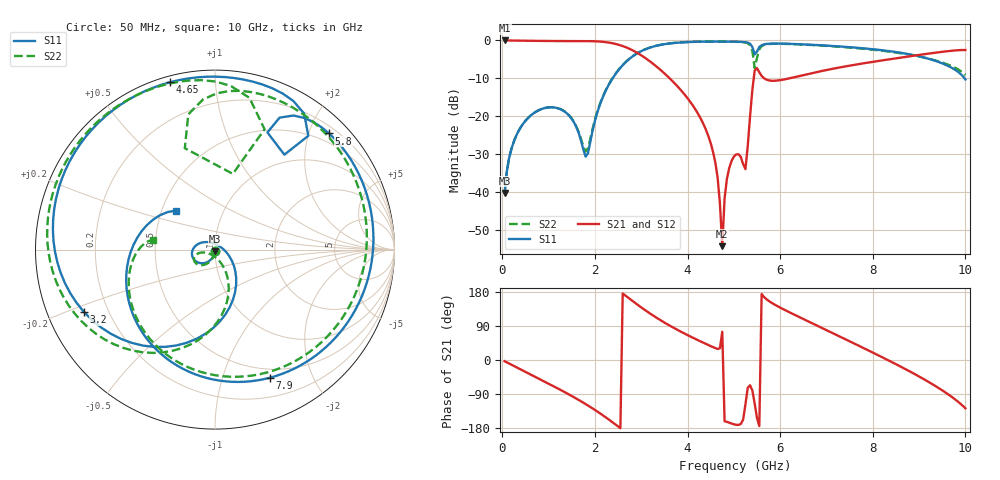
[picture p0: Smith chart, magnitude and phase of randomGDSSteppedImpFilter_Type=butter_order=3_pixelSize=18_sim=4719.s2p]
! freq	dB(S11)	phase(S11)	dB(S12)	phase(S12)
!  dB(S21)	phase(S21)	dB(S22)	phase(S22)
!S-par simulation data
#  GHz  S  DB  R 50
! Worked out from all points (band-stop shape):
!   200 points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, 50 MHz to 10 GHz, reference 50 ohm
!   highest |S21| = -0.01 dB at 50 MHz (marker M1); lowest = -54.2 dB at 4.75 GHz (marker M2)
!   |S21| within 3 dB of the highest: start of sweep to 2.876 GHz; 9.491 GHz to end of sweep
!   lowest |S11| = -40.2 dB at 50 MHz (marker M3), VSWR 1.02, Z = 49.9 - j0.977 ohm
!   |S11| at or under -10 dB: start of sweep to 2.381 GHz; 9.983091 GHz to end of sweep
!   |S22| runs from -40.2 to -0.3 dB; largest |S21 - S12| = 0
!   S11 on the Smith chart (normalised r, x): 50 MHz: 1.00, -0.02; 3.2 GHz: 0.11, -0.22; 4.65 GHz: 0.03, +0.77; 5.8 GHz: 0.32, +2.35; 7.9 GHz: 0.40, -1.44; 10 GHz: 0.59, +0.28
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0.05  -40.18 -93.1  -0.01 -3.2  -0.01 -3.2  -40.17 -92.5
0.25  -26.58 -107.3  -0.03 -15.6  -0.03 -15.6  -26.57 -104.4
0.75  -18.61 -141.7  -0.12 -46.7  -0.12 -46.7  -18.60 -132.6
1.4  -19.26 168.1  -0.16 -88.2  -0.16 -88.2  -19.22 -164.8
1.75  -28.72 104.0  -0.15 -112.6  -0.15 -112.6  -27.92 -146.2
2.45  -8.75 -80.8  -0.93 -170.6  -0.93 -170.6  -8.68 -84.3
3.2  -1.84 -154.6  -5.62 121.9  -5.62 121.9  -1.80 -144.8
3.4  -1.22 -171.4  -7.59 106.2  -7.59 106.2  -1.18 -159.3
4.3  -0.33 126.2  -20.94 48.0  -20.94 48.0  -0.31 146.7
4.65  -0.30 104.9  -36.13 29.0  -36.13 29.0  -0.29 127.9
4.75  -0.31 98.9  -54.16 74.4  -54.16 74.4  -0.30 122.4
4.85  -0.32 92.9  -36.47 -163.3  -36.47 -163.3  -0.31 116.9
5.05  -0.35 80.6  -30.01 -171.0  -30.01 -171.0  -0.36 105.0
5.25  -0.46 66.6  -33.89 -117.6  -33.89 -117.6  -0.57 89.9
5.45  -3.67 53.8  -7.94 -115.1  -7.94 -115.1  -7.26 76.8
5.5  -2.91 65.9  -7.27 -153.0  -7.27 -153.0  -4.59 106.6
5.8  -0.85 45.5  -10.60 152.1  -10.60 152.1  -0.91 77.3
6.7  -1.16 -4.7  -8.57 96.4  -8.57 96.4  -1.22 22.1
7.9  -2.19 -66.7  -5.83 25.6  -5.83 25.6  -2.32 -53.8
8.35  -2.81 -90.7  -4.98 -1.7  -4.98 -1.7  -2.94 -83.3
9.3  -5.16 -151.8  -3.31 -64.7  -3.31 -64.7  -5.10 -146.7
10  -10.27 134.9  -2.52 -127.4  -2.52 -127.4  -9.10 171.1
